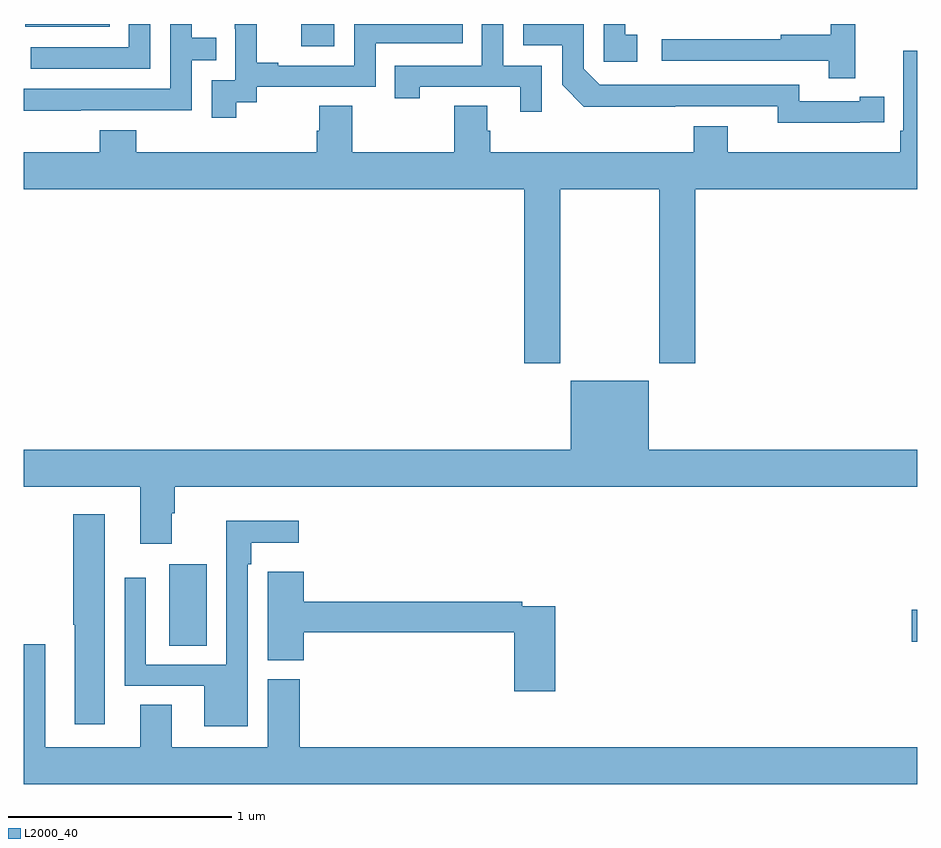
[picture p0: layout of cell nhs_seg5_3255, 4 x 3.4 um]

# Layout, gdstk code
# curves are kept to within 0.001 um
import gdstk
lib = gdstk.Library(unit=1e-6, precision=1e-09)
def R(c, l, rs):  # rectangles x0, y0, x1, y1
    for r in rs: c.add(gdstk.rectangle(r[:2], r[2:], *l))
def P(c, l, *ps):  # polygons
    for p in ps: c.add(gdstk.Polygon(p, *l))
L2000_40 = (2000, 40)

nhs_seg5_3255 = lib.new_cell('nhs_seg5_3255')
R(nhs_seg5_3255, L2000_40, [(299.651,888.016,299.818,888.379), (302.976,888.034,303,888.176), (300.243,890.7,300.39,890.799), (299.006,890.786,299.384,890.799)])
P(nhs_seg5_3255, L2000_40, [(302.744,890.358),(302.852,890.358),(302.852,890.474),(302.744,890.474),(302.744,890.454),(302.472,890.454),(302.472,890.526),(301.578,890.526),(301.506,890.598),(301.506,890.799),(301.236,890.799),(301.236,890.703),(301.41,890.703),(301.41,890.526),(301.508,890.429),(302.376,890.43),(302.376,890.357)],
  [(299.95,890.449),(300.042,890.449),(300.042,890.517),(300.576,890.517),(300.576,890.712),(300.965,890.712),(300.965,890.799),(300.48,890.799),(300.48,890.613),(300.139,890.613),(300.139,890.626),(300.044,890.626),(300.044,890.799),(299.945,890.799),(299.945,890.777),(299.946,890.777),(299.946,890.547),(299.841,890.547),(299.841,890.379),(299.95,890.379)],
  [(299.565,890.799),(299.469,890.799),(299.469,890.694),(299.031,890.694),(299.031,890.598),(299.565,890.598)],
  [(302.723,890.799),(302.613,890.799),(302.613,890.75),(302.389,890.75),(302.389,890.73),(301.857,890.73),(301.857,890.634),(302.605,890.634),(302.605,890.556),(302.723,890.556)],
  [(301.747,890.751),(301.694,890.751),(301.694,890.799),(301.596,890.799),(301.596,890.631),(301.747,890.631)],
  [(299.255,890.412),(299.751,890.412),(299.751,890.637),(299.861,890.637),(299.861,890.738),(299.751,890.738),(299.751,890.799),(299.655,890.799),(299.655,890.508),(299,890.508),(299,890.411),(299.255,890.411)],
  [(301.32,890.613),(301.146,890.613),(301.146,890.799),(301.05,890.799),(301.05,890.613),(300.661,890.613),(300.661,890.466),(300.772,890.466),(300.772,890.517),(301.223,890.517),(301.223,890.406),(301.32,890.406)],
  [(301.241,889.281),(301.401,889.281),(301.401,890.06),(301.846,890.06),(301.846,889.281),(302.006,889.281),(302.006,890.06),(303,890.06),(303,890.68),(302.937,890.68),(302.937,890.32),(302.924,890.32),(302.924,890.224),(302.152,890.224),(302.152,890.341),(302,890.341),(302,890.224),(301.088,890.224),(301.088,890.322),(301.075,890.322),(301.075,890.432),(300.928,890.432),(300.928,890.224),(300.471,890.224),(300.471,890.432),(300.323,890.432),(300.323,890.322),(300.311,890.322),(300.311,890.224),(299.504,890.224),(299.504,890.323),(299.339,890.323),(299.339,890.224),(299,890.224),(299,890.06),(301.241,890.06)],
  [(299.662,888.608),(299.675,888.608),(299.675,888.728),(303,888.728),(303,888.892),(301.798,888.892),(301.798,889.201),(301.448,889.201),(301.448,888.892),(299,888.892),(299,888.728),(299.522,888.728),(299.522,888.471),(299.662,888.471)],
  [(299.362,888.604),(299.221,888.604),(299.221,888.109),(299.228,888.109),(299.228,887.664),(299.362,887.664)],
  [(300.003,888.38),(300.019,888.38),(300.019,888.476),(300.232,888.476),(300.232,888.574),(299.907,888.574),(299.907,887.931),(299.547,887.931),(299.547,888.319),(299.451,888.319),(299.451,887.835),(299.807,887.835),(299.807,887.654),(300.003,887.654)],
  [(301.379,888.192),(301.232,888.192),(301.232,888.212),(300.254,888.212),(300.254,888.346),(300.093,888.346),(300.093,888.233),(300.092,888.233),(300.092,887.95),(300.254,887.95),(300.254,888.076),(301.196,888.076),(301.196,887.811),(301.379,887.811)],
  [(303,887.56),(300.236,887.56),(300.236,887.865),(300.092,887.865),(300.092,887.56),(299.662,887.56),(299.662,887.75),(299.522,887.75),(299.522,887.56),(299.095,887.56),(299.095,888.022),(299,888.022),(299,887.396),(303,887.396)])

lib.write_gds('nhs_seg5_3255.gds')
